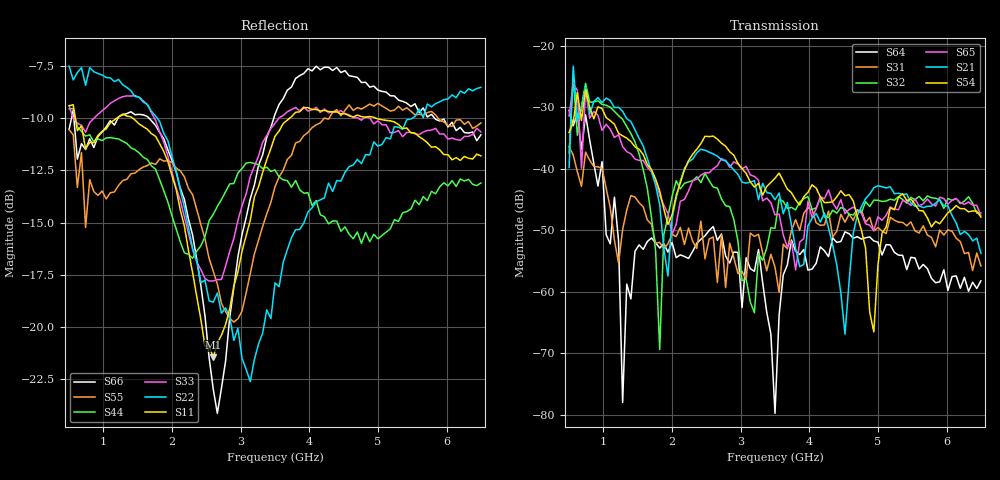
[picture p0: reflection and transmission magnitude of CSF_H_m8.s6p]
!Keysight Technologies,M9804A,MY58100912,A.14.10.03
!Date: Thursday, April 27, 2023 10:28:33
!Correction: S11(C  6-Port  )
!S12(C  6-Port  )
!S13(C  6-Port  )
!S14(C  6-Port  )
!S15(C  6-Port  )
!S16(C  6-Port  )
!S21(C  6-Port  )
!S22(C  6-Port  )
!S23(C  6-Port  )
!S24(C  6-Port  )
!S25(C  6-Port  )
!S26(C  6-Port  )
!S31(C  6-Port  )
!S32(C  6-Port  )
!S33(C  6-Port  )
!S34(C  6-Port  )
!S35(C  6-Port  )
!S36(C  6-Port  )
!S41(C  6-Port  )
!S42(C  6-Port  )
!S43(C  6-Port  )
!S44(C  6-Port  )
!S45(C  6-Port  )
!S46(C  6-Port  )
!S51(C  6-Port  )
!S52(C  6-Port  )
!S53(C  6-Port  )
!S54(C  6-Port  )
!S55(C  6-Port  )
!S56(C  6-Port  )
!S61(C  6-Port  )
!S62(C  6-Port  )
!S63(C  6-Port  )
!S64(C  6-Port  )
!S65(C  6-Port  )
!S66(C  6-Port  )
!S6P File: Measurement: :
# Hz S  RI  R 50
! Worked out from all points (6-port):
!   101 points, 500 MHz to 6.5 GHz, reference 50 ohm
!   strongest paths, dB at 500 MHz, 2 GHz, 3.5 GHz, 5 GHz, 6.5 GHz:
!     S54: -34.1, -47.5, -41.5, -55.6, -47.8
!     S21: -39.8, -48.1, -45.0, -42.8, -53.7
!     S65: -31.4, -50.7, -47.5, -47.8, -47.6
!     S32: -37.4, -44.5, -49.7, -45.1, -47.2
!     S31: -36.4, -50.7, -56.0, -49.5, -55.8
!     S64: -30.5, -52.0, -79.7, -51.9, -58.2
!   lowest |S11| = -21.5 dB at 2.6 GHz (marker M1), VSWR 1.18, Z = 42.5 + j2.17 ohm
!   |S11| at or under -10 dB: 591.5 MHz to 1.192 GHz (600.1 MHz wide, 67.3 % of centre); 1.429 GHz to 3.711 GHz (2.282 GHz wide, 88.8 % of centre); 4.978 GHz to end of sweep
